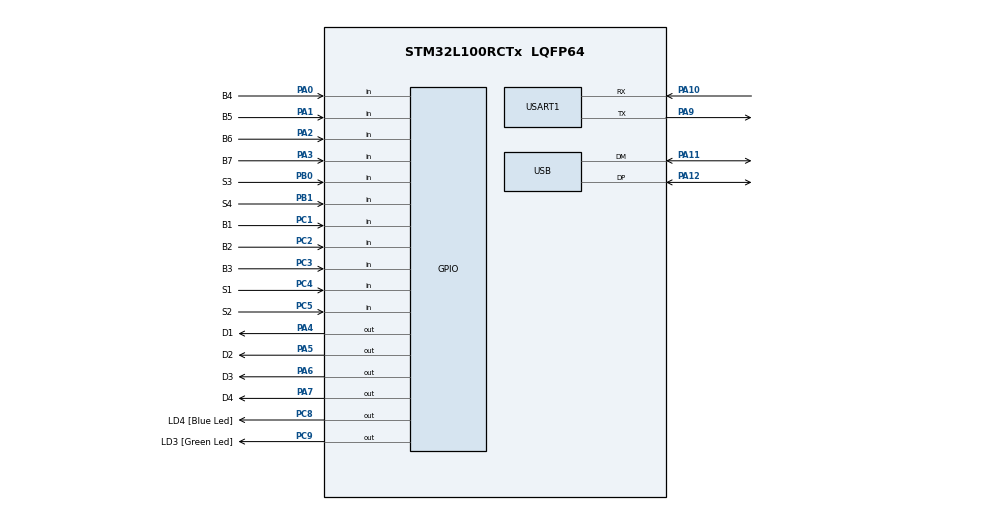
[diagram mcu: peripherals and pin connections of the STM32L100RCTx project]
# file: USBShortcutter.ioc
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Mcu.Family=STM32L1
Mcu.Name=STM32L100RCTx
Mcu.Package=LQFP64
NVIC.PriorityGroup=NVIC_PRIORITYGROUP_0
NVIC.USART1_IRQn=true\:0\:0\:false\:false\:true\:true\:true
NVIC.USB_HP_IRQn=true\:0\:0\:false\:false\:true\:true\:true
NVIC.USB_LP_IRQn=true\:0\:0\:false\:false\:true\:false\:true
PA0-WKUP1.GPIO_Label=B4
PA0-WKUP1.GPIO_Mode=GPIO_MODE_INPUT
PA0-WKUP1.GPIO_PuPd=GPIO_PULLUP
PA0-WKUP1.Signal=GPIO_Input
PA1.GPIO_Label=B5
PA1.GPIO_Mode=GPIO_MODE_INPUT
PA1.GPIO_PuPd=GPIO_PULLUP
PA1.Signal=GPIO_Input
PA10.Mode=Asynchronous
PA10.Signal=USART1_RX
PA11.Mode=Device
PA11.Signal=USB_DM
PA12.Mode=Device
PA12.Signal=USB_DP
PA13.GPIO_Label=SWDIO
PA13.Mode=Serial_Wire
PA13.Signal=SYS_JTMS-SWDIO
PA14.GPIO_Label=SWCLK
PA14.Mode=Serial_Wire
PA14.Signal=SYS_JTCK-SWCLK
PA2.GPIO_Label=B6
PA2.GPIO_Mode=GPIO_MODE_INPUT
PA2.GPIO_PuPd=GPIO_PULLUP
PA2.Signal=GPIO_Input
PA3.GPIO_Label=B7
PA3.GPIO_Mode=GPIO_MODE_INPUT
PA3.GPIO_PuPd=GPIO_PULLUP
PA3.Signal=GPIO_Input
PA4.GPIO_Label=D1
PA4.Signal=GPIO_Output
PA5.GPIO_Label=D2
PA5.Signal=GPIO_Output
PA6.GPIO_Label=D3
PA6.Signal=GPIO_Output
PA7.GPIO_Label=D4
PA7.Signal=GPIO_Output
PA9.Mode=Asynchronous
PA9.Signal=USART1_TX
PB0.GPIO_Label=S3
PB0.GPIO_Mode=GPIO_MODE_INPUT
PB0.GPIO_PuPd=GPIO_PULLUP
PB0.Signal=GPIO_Input
PB1.GPIO_Label=S4
PB1.GPIO_Mode=GPIO_MODE_INPUT
PB1.GPIO_PuPd=GPIO_PULLUP
PB1.Signal=GPIO_Input
PC1.GPIO_Label=B1
PC1.GPIO_Mode=GPIO_MODE_INPUT
PC1.GPIO_PuPd=GPIO_PULLUP
PC1.Signal=GPIO_Input
PC14-OSC32_IN.GPIO_Label=PC14-OSC32_IN
PC14-OSC32_IN.Signal=RCC_OSC32_IN
PC15-OSC32_OUT.GPIO_Label=PC15-OSC32_OUT
PC15-OSC32_OUT.Signal=RCC_OSC32_OUT
PC2.GPIO_Label=B2
PC2.GPIO_Mode=GPIO_MODE_INPUT
PC2.GPIO_PuPd=GPIO_PULLUP
PC2.Signal=GPIO_Input
PC3.GPIO_Label=B3
PC3.GPIO_Mode=GPIO_MODE_INPUT
PC3.GPIO_PuPd=GPIO_PULLUP
PC3.Signal=GPIO_Input
PC4.GPIO_Label=S1
PC4.GPIO_Mode=GPIO_MODE_INPUT
PC4.GPIO_PuPd=GPIO_PULLUP
PC4.Signal=GPIO_Input
PC5.GPIO_Label=S2
PC5.GPIO_Mode=GPIO_MODE_INPUT
PC5.GPIO_PuPd=GPIO_PULLUP
PC5.Signal=GPIO_Input
PC8.GPIO_Label=LD4 [Blue Led]
PC8.Signal=GPIO_Output
PC9.GPIO_Label=LD3 [Green Led]
PC9.Signal=GPIO_Output
PH0-OSC_IN.GPIO_Label=PH0-OSC_IN
PH0-OSC_IN.Mode=HSE-External-Clock-Source
PH0-OSC_IN.Signal=RCC_OSC_IN
PH1-OSC_OUT.GPIO_Label=PH1-OSC_OUT
PH1-OSC_OUT.Signal=RCC_OSC_OUT
ProjectManager.HeapSize=0x200
ProjectManager.StackSize=0x400
ProjectManager.TargetToolchain=STM32CubeIDE
RCC.48MHZClocksFreq_Value=48000000
RCC.AHBFreq_Value=32000000
RCC.APB1Freq_Value=32000000
RCC.APB1TimFreq_Value=32000000
RCC.APB2Freq_Value=32000000
RCC.APB2TimFreq_Value=32000000
RCC.HCLKFreq_Value=32000000
RCC.HSE_VALUE=8000000
RCC.HSI_VALUE=16000000
RCC.LSEState=RCC_LSE_ON
RCC.LSE_VALUE=32768
RCC.MSI_VALUE=2097000
RCC.PLLDIV=RCC_PLL_DIV3
RCC.PLLMUL=RCC_PLL_MUL12
RCC.RTCClockSelectionVirtual=RCC_RTCCLKSOURCE_LSE
RCC.SYSCLKFreq_VALUE=32000000
RCC.SYSCLKSource=RCC_SYSCLKSOURCE_PLLCLK
RCC.USBOutput=48000000
RCC.VCOOutputFreq_Value=96000000
USART1.VirtualMode=VM_ASYNC
USB_DEVICE.CLASS_NAME_FS=CUSTOM_HID
USB_DEVICE.CONFIGURATION_STRING_CUSTOMHID_FS=USB Shortcutter Cfg
USB_DEVICE.CUSTOM_HID_FS_BINTERVAL=30
USB_DEVICE.INTERFACE_STRING_CUSTOMHID_FS=USB Shortcutter Interface
USB_DEVICE.MANUFACTURER_STRING=STMicroelectronics
USB_DEVICE.PRODUCT_STRING_CUSTOMHID_FS=USB Shortcutter
USB_DEVICE.USBD_CUSTOMHID_OUTREPORT_BUF_SIZE=2
USB_DEVICE.USBD_CUSTOM_HID_REPORT_DESC_SIZE=45
USB_DEVICE.USBD_DEBUG_LEVEL=0
USB_DEVICE.VirtualMode=CustomHid
USB_DEVICE.VirtualModeFS=Custom_Hid_FS
VP_USB_DEVICE_VS_USB_DEVICE_CUSTOM_HID_FS.Mode=CUSTOM_HID_FS
board=STM32L100C-DISCO

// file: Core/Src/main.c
/* USER CODE BEGIN Header */
/**
 ******************************************************************************
 * @file           : main.c
 * @brief          : Main program body
 ******************************************************************************
 * @attention
 *
 * <h2><center>&copy; Copyright (c) 2020 STMicroelectronics.
 * All rights reserved.</center></h2>
 *
 * This software component is licensed by ST under BSD 3-Clause license,
 * the "License"; You may not use this file except in compliance with the
 * License. You may obtain a copy of the License at:
 *                        opensource.org/licenses/BSD-3-Clause
 *
 ******************************************************************************
 */
/* USER CODE END Header */

#include "main.h"
#include "usart.h"
#include "usb_device.h"
#include "gpio.h"

/* USER CODE BEGIN Includes */
#include "uart_print.h"

#include "ring_buffer.h"

#include "buttons.h"
#include "buttons_user.h"

#include "usb_shortcutter.h"

/* USER CODE END Includes */

/* USER CODE BEGIN PD */
#define ERROR_LED_PORT LD4_GPIO_Port
#define ERROR_LED_PIN LD4_Pin

#define KEY_PRESS_BUFF_SIZE 20

/* USER CODE END PD */

/* USER CODE BEGIN PV */
rb_att_t key_press_buff;

/* USER CODE END PV */

void SystemClock_Config(void);

int main(void)
{
  /* USER CODE BEGIN 1 */
  uint32_t next_toggle_time = 0;

  /* USER CODE END 1 */

  /* MCU Configuration--------------------------------------------------------*/

  /* Reset of all peripherals, Initializes the Flash interface and the Systick. */
  HAL_Init();

  /* Configure the system clock */
  SystemClock_Config();

  /* Initialize all configured peripherals */
  MX_GPIO_Init();
  MX_USART1_UART_Init();
  MX_USB_DEVICE_Init();
  /* USER CODE BEGIN 2 */
  if (ring_buffer_init(&key_press_buff, KEY_PRESS_BUFF_SIZE) != RB_OK) Error_Handler();

  register_button(B1_GPIO_Port, B1_Pin, BTN_MODE_SINGLEPRESS);
  register_button(B2_GPIO_Port, B2_Pin, BTN_MODE_SINGLEPRESS);
  register_button(B3_GPIO_Port, B3_Pin, BTN_MODE_SINGLEPRESS);
  register_button(B4_GPIO_Port, B4_Pin, BTN_MODE_SINGLEPRESS);
  register_button(B5_GPIO_Port, B5_Pin, BTN_MODE_SINGLEPRESS);
  register_button(B6_GPIO_Port, B6_Pin, BTN_MODE_SINGLEPRESS);
  register_button(B7_GPIO_Port, B7_Pin, BTN_MODE_SINGLEPRESS);

  register_button(S3_GPIO_Port, S3_Pin, BTN_MODE_SINGLEPRESS);
  register_button(S4_GPIO_Port, S4_Pin, BTN_MODE_SINGLEPRESS);

  printString("System initialized.");

  /* USER CODE END 2 */

  /* Infinite loop */
  /* USER CODE BEGIN WHILE */

  while (1) {
     if (HAL_GetTick() > next_toggle_time) {
      next_toggle_time = HAL_GetTick() + 1000;
      LL_GPIO_TogglePin(LD4_GPIO_Port, LD4_Pin);
    }

    handle_buttons();
    handle_usb();
    /* USER CODE END WHILE */

  }
}

void SystemClock_Config(void)
{

  LL_FLASH_Enable64bitAccess();

  LL_FLASH_SetLatency(LL_FLASH_LATENCY_1);

  if(LL_FLASH_GetLatency() != LL_FLASH_LATENCY_1)
  {
  Error_Handler();
  }
  LL_PWR_SetRegulVoltageScaling(LL_PWR_REGU_VOLTAGE_SCALE1);
  LL_RCC_HSE_EnableBypass();
  LL_RCC_HSE_Enable();

   /* Wait till HSE is ready */
  while(LL_RCC_HSE_IsReady() != 1)
  {

  }
  LL_RCC_PLL_ConfigDomain_SYS(LL_RCC_PLLSOURCE_HSE, LL_RCC_PLL_MUL_12, LL_RCC_PLL_DIV_3);
  LL_RCC_PLL_Enable();

   /* Wait till PLL is ready */
  while(LL_RCC_PLL_IsReady() != 1)
  {

  }
  LL_RCC_SetAHBPrescaler(LL_RCC_SYSCLK_DIV_1);
  LL_RCC_SetAPB1Prescaler(LL_RCC_APB1_DIV_1);
  LL_RCC_SetAPB2Prescaler(LL_RCC_APB2_DIV_1);
  LL_RCC_SetSysClkSource(LL_RCC_SYS_CLKSOURCE_PLL);

   /* Wait till System clock is ready */
  while(LL_RCC_GetSysClkSource() != LL_RCC_SYS_CLKSOURCE_STATUS_PLL)
  {

  }
  LL_SetSystemCoreClock(32000000);

   /* Update the time base */
  if (HAL_InitTick (TICK_INT_PRIORITY) != HAL_OK)
  {
    Error_Handler();
  };
}

void Error_Handler(void)
{
}

/************************ (C) COPYRIGHT STMicroelectronics *****END OF FILE****/
